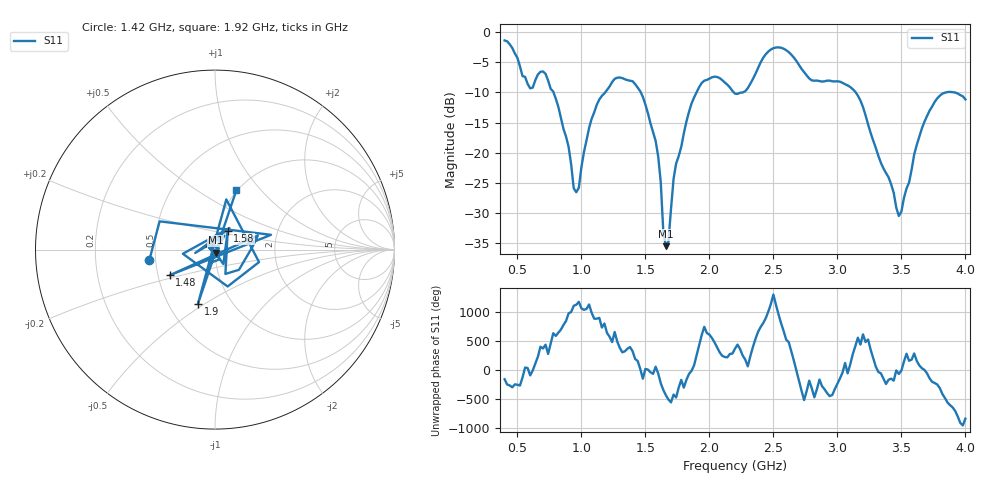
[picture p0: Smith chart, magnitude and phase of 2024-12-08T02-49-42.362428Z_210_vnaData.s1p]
!Created with skrf (http://scikit-rf.org).
# Hz S RI R 50.0
!freq ReS11 ImS11
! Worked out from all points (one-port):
!   181 points, 400 MHz to 4 GHz, reference 50 ohm
!   lowest |S11| = -35.5 dB at 1.66 GHz (marker M1), VSWR 1.03, Z = 50.4 - j1.63 ohm
!   |S11| at or under -10 dB: 782.3 MHz to 1.185 GHz (402.8 MHz wide, 40.9 % of centre); 1.464 GHz to 1.899 GHz (435.3 MHz wide, 25.9 % of centre); 3.143 GHz to 3.849 GHz (705.5 MHz wide, 20.2 % of centre) (the widest 3 of 5)
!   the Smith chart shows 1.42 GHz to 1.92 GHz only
!   S11 on the Smith chart (normalised r, x): 1.42 GHz: 0.46, -0.06; 1.48 GHz: 0.58, -0.18; 1.58 GHz: 1.13, +0.24; 1.9 GHz: 0.70, -0.47; 1.92 GHz: 0.99, +0.74
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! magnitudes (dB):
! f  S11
! 400 MHz  -1.4
! 600 MHz  -9.3
! 720 MHz  -6.9
! 860 MHz  -16.1
! 960 MHz  -26.5
! 1.12 GHz  -12.1
! 1.3 GHz  -7.5
! 1.42 GHz  -8.6
! 1.48 GHz  -10.7
! 1.58 GHz  -18.0
! 1.66 GHz  -35.5
! 1.68 GHz  -34.7
! 1.72 GHz  -24.3
! 1.76 GHz  -20.6
! 1.9 GHz  -10.0
! 1.92 GHz  -9.1
! 2.06 GHz  -7.4
! 2.2 GHz  -10.2
! 2.48 GHz  -2.9
! 2.66 GHz  -4.2
! 2.8 GHz  -8.0
! 3.1 GHz  -9.1
! 3.2 GHz  -12.4
! 3.48 GHz  -30.5
! 3.56 GHz  -24.9
! 3.66 GHz  -16.0
! 3.76 GHz  -11.6
! 4 GHz  -11.2
